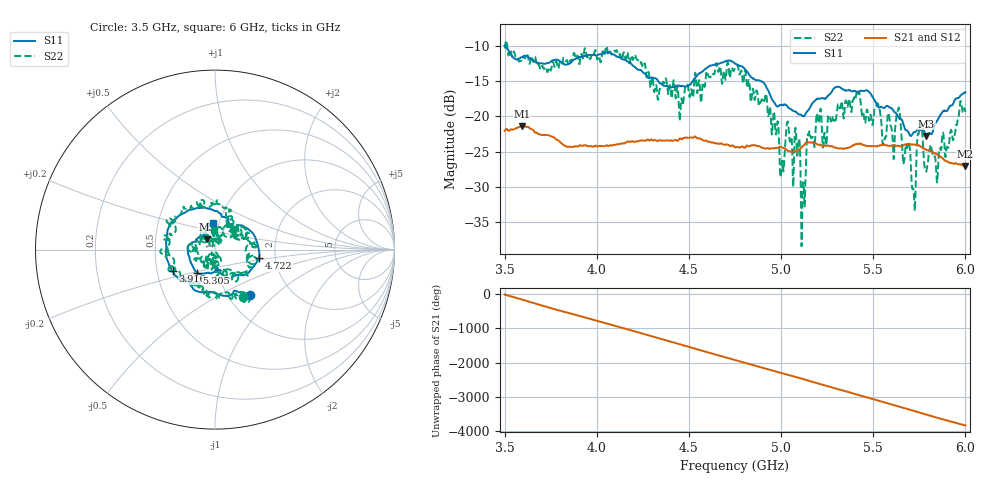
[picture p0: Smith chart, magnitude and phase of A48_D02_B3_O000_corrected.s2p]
! Created with skrf 1.9.0 (http://scikit-rf.org).
# Hz S RI R 50.0
!freq ReS11 ImS11 ReS21 ImS21 ReS12 ImS12 ReS22 ImS22
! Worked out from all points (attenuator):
!   1601 points, 3.5 GHz to 6 GHz, reference 50 ohm
!   highest |S21| = -21.40 dB at 3.594 GHz (marker M1); lowest = -27.0 dB at 6 GHz (marker M2)
!   lowest |S11| = -22.8 dB at 5.787 GHz (marker M3), VSWR 1.16, Z = 45.4 + j5.15 ohm
!   |S11| at or under -10 dB: 3.504 GHz to end of sweep
!   |S22| runs from -38.4 to -9.2 dB; largest |S21 - S12| = 0.00093
!   S11 on the Smith chart (normalised r, x): 3.5 GHz: 1.25, -0.71; 3.916 GHz: 0.60, -0.16; 4.722 GHz: 1.64, -0.17; 5.305 GHz: 0.79, -0.21; 6 GHz: 0.94, +0.29
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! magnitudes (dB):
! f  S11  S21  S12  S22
! 3.5 GHz  -9.9  -22.0  -22.0  -10.3
! 3.594 GHz  -11.5  -21.4  -21.4  -12.2
! 3.916 GHz  -11.5  -24.1  -24.1  -11.2
! 3.917 GHz  -11.5  -24.1  -24.1  -11.1
! 4.213 GHz  -13.1  -23.5  -23.5  -11.6
! 4.334 GHz  -15.0  -23.4  -23.4  -17.4
! 4.722 GHz  -12.1  -24.2  -24.2  -14.5
! 4.75 GHz  -12.5  -24.4  -24.3  -13.1
! 4.914 GHz  -15.5  -24.6  -24.5  -17.1
! 5.005 GHz  -18.3  -24.4  -24.4  -26.4
! 5.034 GHz  -18.6  -24.9  -24.8  -20.8
! 5.088 GHz  -19.5  -24.9  -24.9  -25.6
! 5.119 GHz  -19.9  -24.2  -24.1  -29.5
! 5.147 GHz  -19.1  -23.7  -23.7  -22.6
! 5.167 GHz  -18.2  -23.7  -23.7  -23.0
! 5.305 GHz  -15.8  -24.5  -24.4  -18.9
! 5.584 GHz  -18.6  -24.2  -24.1  -19.5
! 5.638 GHz  -20.1  -24.2  -24.1  -18.7
! 5.719 GHz  -22.3  -24.0  -23.9  -30.5
! 5.752 GHz  -21.9  -24.2  -24.1  -21.6
! 5.787 GHz  -22.8  -24.7  -24.7  -27.8
! 6 GHz  -16.6  -27.0  -27.0  -19.4
